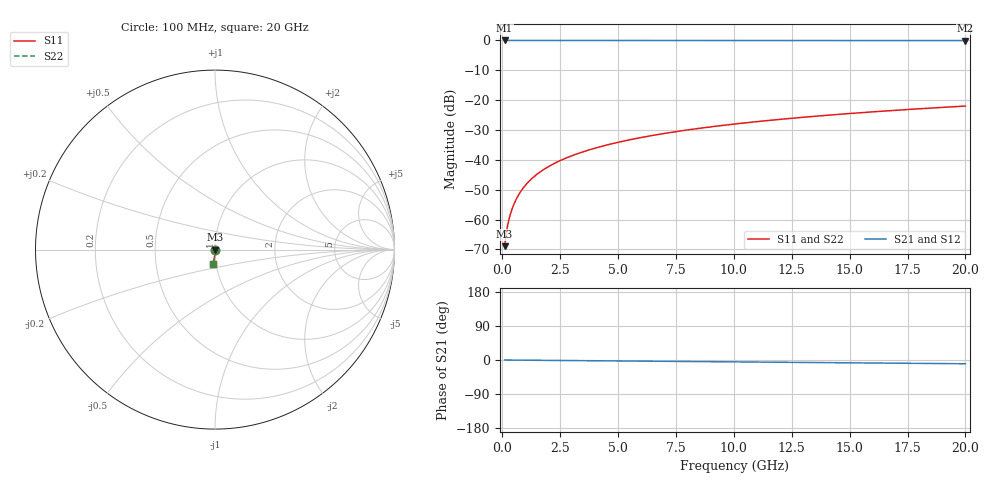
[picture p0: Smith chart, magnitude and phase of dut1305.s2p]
! Touchstone file exported from HFSS 2026.1.0
!  File:  C:/ffzhzh/LocalFiles/Ansys_Project_Files/temp_train_TSV_1305_1783194837_18472.aedt
!  Generated:  03:55:24 AM Jul  5, 2026
!  Design:  TSV
!  Project:  temp_train_TSV_1305_1783194837_18472
! Variables:
!  h_bsmrdl = 2um
!  h_ox = 20um
!  h_rdl = 5um
!  h_sub = 93.93um
!  h_tmrdl = 5um
!  h_tsv = 93.93um
!  h_via = 3um
!  l_bsmrdl = 300um
!  l_sub = 426.08um
!  l_tmrdl = 200um
!  m_sub = 200um
!  pitch = 35.25um
!  r_tsv = 13.04um
!  s_tmrdl = 10um
!  w_bsmrdl = 18um
!  w_sub = 500um
!  w_tmrdl = 12um
!  x_tsv_center1 = 206um
!  x_tsv_center2 = 524um
!  x_tsv_center3 = 736um
!  x_tsv_center4 = 1054um
!  x_tsv_center5 = 1266um
!  x_tsv_center6 = 1584um
# GHz S MA R 50.000000
! Terminal data exported
! Port[1] = TSV1_1_T1
! Port[2] = TSV1_1_T2
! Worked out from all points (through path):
!   200 points, 100 MHz to 20 GHz, reference 50 ohm
!   highest |S21| = 0.00 dB at 100 MHz (marker M1); lowest = 0.0 dB at 20 GHz (marker M2)
!   group delay of S21, straight-line fit = 1.37 ps
!   lowest |S11| = -68.9 dB at 100 MHz (marker M3), VSWR 1.00, Z = 50 - j0.0343 ohm
!   |S11| at or under -10 dB: start of sweep to end of sweep
!   |S22| runs from -68.9 to -22.0 dB; largest |S21 - S12| = 5e-15
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0.1  0.0003593 -72.6  0.9999 -0.1  0.9999 -0.1  0.0003593 -72.6
! Gamma 0 0 0 0
! Port Impedance 50 0 50 0
0.2  0.0007027 -79.6  0.9999 -0.1  0.9999 -0.1  0.0007027 -79.6
0.3  0.00106 -81.7  0.9998 -0.2  0.9998 -0.2  0.00106 -81.7
0.4  0.001429 -82.6  0.9998 -0.2  0.9998 -0.2  0.001429 -82.6
0.5  0.001807 -83.2  0.9998 -0.3  0.9998 -0.3  0.001807 -83.2
0.7  0.002582 -84.1  0.9997 -0.4  0.9997 -0.4  0.002582 -84.1
0.8  0.002976 -84.5  0.9997 -0.4  0.9997 -0.4  0.002976 -84.5
1  0.003768 -85.2  0.9996 -0.5  0.9996 -0.5  0.003768 -85.2
1.2  0.004563 -85.8  0.9996 -0.6  0.9996 -0.6  0.004563 -85.8
1.4  0.005359 -86.4  0.9996 -0.7  0.9996 -0.7  0.005359 -86.4
1.7  0.006552 -87.0  0.9995 -0.9  0.9995 -0.9  0.006552 -87.0
2  0.007744 -87.5  0.9995 -1.0  0.9995 -1.0  0.007744 -87.5
2.7  0.01052 -88.5  0.9994 -1.4  0.9994 -1.4  0.01052 -88.5
3.5  0.01371 -89.3  0.9993 -1.8  0.9993 -1.8  0.01371 -89.3
4.2  0.0165 -89.8  0.9992 -2.1  0.9992 -2.1  0.0165 -89.8
5  0.0197 -90.4  0.9991 -2.5  0.9991 -2.5  0.0197 -90.4
6.8  0.02691 -91.6  0.9988 -3.4  0.9988 -3.4  0.02691 -91.6
8.3  0.03293 -92.5  0.9985 -4.1  0.9985 -4.1  0.03293 -92.5
10.1  0.04016 -93.5  0.9982 -5.0  0.9982 -5.0  0.04016 -93.5
13.4  0.05338 -95.4  0.9974 -6.6  0.9974 -6.6  0.05338 -95.4
16.7  0.06657 -97.1  0.9964 -8.3  0.9964 -8.3  0.06657 -97.1
20  0.0797 -98.8  0.9953 -9.9  0.9953 -9.9  0.0797 -98.8
